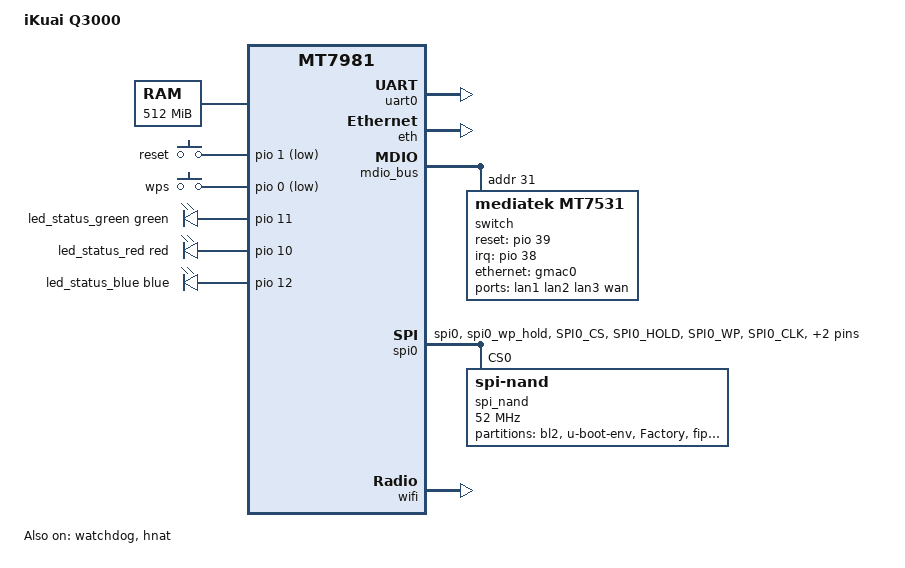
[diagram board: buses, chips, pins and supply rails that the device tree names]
// SPDX-License-Identifier: GPL-2.0-or-later OR MIT
//
// iKuai Q3000 (爱快 Q3000)
//   SoC   : MT7981B (Filogic 820)
//   RAM   : 512MB DDR3
//   Flash : 128MB SPI-NAND (NMBM)
//   Switch: MT7531 (4 port)
//   Boot  : MTK U-Boot 2025.07.1 (bl-mt798x-dhcpd / uboot-mtk-20250711)
//
// 移植基线: tfnhui/immortalwrt-mt798x-25.12 @ build-20260923-130 (7d0c19f)
// 来源    : DTS 取自 hanwckf/immortalwrt-mt798x (files-5.4)，并按运行中固件
//           的实时设备树 (/sys/firmware/fdt) 反编译核对后适配 6.12 内核写法。
//
// 分区布局与 U-Boot 的 mtdparts 严格一致，二者不可分别改动:
//   nmbm0:1024k(bl2),512k(u-boot-env),2048k(Factory),2048k(fip),113152k(ubi)

/dts-v1/;

#include <dt-bindings/gpio/gpio.h>
#include <dt-bindings/input/input.h>
#include <dt-bindings/interrupt-controller/irq.h>
#include <dt-bindings/leds/common.h>

#include "mt7981b.dtsi"

/ {
	model = "iKuai Q3000";
	compatible = "ikuai,q3000", "mediatek,mt7981";

	mediatek,env-size = "0x20000";
	mediatek,env-offset = "0x0";
	mediatek,env-part = "u-boot-env";

	aliases {
		serial0 = &uart0;
		label-mac-device = &gmac0;
		led-boot = &led_status_red;
		led-failsafe = &led_status_red;
		led-running = &led_status_green;
		led-upgrade = &led_status_blue;
	};

	chosen {
		stdout-path = "serial0:115200n8";
		bootargs-append = " panic=10 ignore_loglevel";
	};

	memory@40000000 {
		device_type = "memory";
		reg = <0 0x40000000 0 0x20000000>;
	};

	gpio-keys {
		compatible = "gpio-keys";

		button-reset {
			label = "reset";
			linux,code = <KEY_RESTART>;
			gpios = <&pio 1 GPIO_ACTIVE_LOW>;
		};

		button-wps {
			label = "wps";
			linux,code = <KEY_WPS_BUTTON>;
			gpios = <&pio 0 GPIO_ACTIVE_LOW>;
		};
	};

	leds {
		compatible = "gpio-leds";

		led_status_green: green {
			function = LED_FUNCTION_STATUS;
			color = <LED_COLOR_ID_GREEN>;
			gpios = <&pio 11 GPIO_ACTIVE_HIGH>;
		};

		led_status_red: red {
			function = LED_FUNCTION_STATUS;
			color = <LED_COLOR_ID_RED>;
			gpios = <&pio 10 GPIO_ACTIVE_HIGH>;
		};

		led_status_blue: blue {
			function = LED_FUNCTION_STATUS;
			color = <LED_COLOR_ID_BLUE>;
			gpios = <&pio 12 GPIO_ACTIVE_HIGH>;
		};
	};
};

&uart0 {
	status = "okay";
};

&watchdog {
	status = "okay";
};

&eth {
	status = "okay";

	gmac0: mac@0 {
		compatible = "mediatek,eth-mac";
		reg = <0>;
		phy-mode = "2500base-x";
		nvmem-cell-names = "mac-address";
		nvmem-cells = <&macaddr_factory_10048 1>;

		fixed-link {
			speed = <2500>;
			full-duplex;
			pause;
		};
	};
};

&mdio_bus {
	switch: switch@1f {
		compatible = "mediatek,mt7531";
		reg = <31>;
		reset-gpios = <&pio 39 GPIO_ACTIVE_HIGH>;
		interrupt-controller;
		#interrupt-cells = <1>;
		interrupt-parent = <&pio>;
		interrupts = <38 IRQ_TYPE_LEVEL_HIGH>;
	};
};

&switch {
	ports {
		#address-cells = <1>;
		#size-cells = <0>;

		port@0 {
			reg = <0>;
			label = "lan1";
		};

		port@1 {
			reg = <1>;
			label = "lan2";
		};

		port@2 {
			reg = <2>;
			label = "lan3";
		};

		port@3 {
			reg = <3>;
			label = "wan";
			nvmem-cell-names = "mac-address";
			nvmem-cells = <&macaddr_factory_10048 0>;
		};

		port@6 {
			reg = <6>;
			ethernet = <&gmac0>;
			phy-mode = "2500base-x";

			fixed-link {
				speed = <2500>;
				full-duplex;
				pause;
			};
		};
	};
};

&hnat {
	mtketh-wan = "wan";
	mtketh-lan = "lan";
	mtketh-max-gmac = <2>;
	mtketh-ppe-num = <2>;
	ext-devices-prefix = "wwan", "usb", "eth";
	status = "okay";
};

&spi0 {
	pinctrl-names = "default";
	pinctrl-0 = <&spi0_flash_pins>;
	status = "okay";

	spi_nand: spi_nand@0 {
		compatible = "spi-nand";
		reg = <0>;

		spi-max-frequency = <52000000>;
		spi-tx-bus-width = <4>;
		spi-rx-bus-width = <4>;

		mediatek,nmbm;
		mediatek,bmt-max-ratio = <1>;
		mediatek,bmt-max-reserved-blocks = <64>;

		partitions {
			compatible = "fixed-partitions";
			#address-cells = <1>;
			#size-cells = <1>;

			partition@0 {
				label = "bl2";
				reg = <0x00000 0x0100000>;
				read-only;
			};

			partition@100000 {
				label = "u-boot-env";
				reg = <0x0100000 0x0080000>;
			};

			factory: partition@180000 {
				label = "Factory";
				reg = <0x180000 0x0200000>;
				read-only;

				nvmem-layout {
					compatible = "fixed-layout";
					#address-cells = <1>;
					#size-cells = <1>;

					macaddr_factory_10048: macaddr@10048 {
						compatible = "mac-base";
						reg = <0x10048 0x6>;
						#nvmem-cell-cells = <1>;
					};
				};
			};

			partition@380000 {
				label = "fip";
				reg = <0x380000 0x0200000>;
				read-only;
			};

			ubi: partition@580000 {
				label = "ubi";
				reg = <0x580000 0x6e80000>;
				compatible = "linux,ubi";
			};
		};
	};
};

&pio {
	spi0_flash_pins: spi0-pins {
		mux {
			function = "spi";
			groups = "spi0", "spi0_wp_hold";
		};

		conf-pu {
			pins = "SPI0_CS", "SPI0_HOLD", "SPI0_WP";
			drive-strength = <8>;
			bias-pull-up = <0x67>;
		};

		conf-pd {
			pins = "SPI0_CLK", "SPI0_MOSI", "SPI0_MISO";
			drive-strength = <8>;
			bias-pull-down = <0x67>;
		};
	};
};

&wifi {
	status = "okay";
	pinctrl-names = "dbdc";
	pinctrl-0 = <&wifi_dbdc_pins>;
	mediatek,mtd-eeprom = <&factory 0x0>;
};
